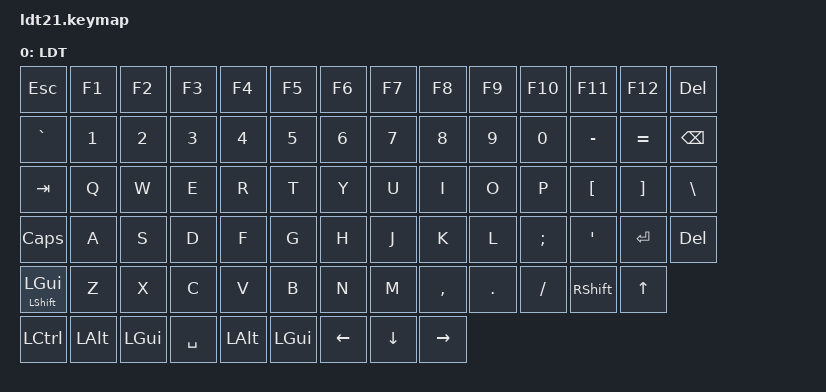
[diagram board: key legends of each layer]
/*
 * Copyright (c) 2020 The ZMK Contributors
 *
 * SPDX-License-Identifier: MIT
 */

#include <behaviors.dtsi>
#include <dt-bindings/zmk/keys.h>

#define DEF 0
#define NAV 1
#define NUM 2

/ {
    combos { compatible = "zmk,combos"; };

    behaviors {
        ctrlhold: ctrlhold {
            compatible = "zmk,behavior-hold-tap";
            label = "CTRLHOLD";
            bindings = <&kp>, <&kp>;

            #binding-cells = <2>;
            tapping-term-ms = <160>;
            hold-trigger-key-positions = <27 14 28 54 43 56 57 58 59 60 44 75 77 29 30 31 32 18>;
            flavor = "hold-preferred";
        };
    };

    keymap {
        compatible = "zmk,keymap";

        ldt21_layer {
            bindings = <
&kp ESCAPE               &kp F1        &kp F2        &kp F3        &kp F4        &kp F5        &kp F6          &kp F7    &kp F8     &kp F9      &kp F10        &kp F11           &kp F12            &kp DEL
&kp GRAVE                &kp NUMBER_1  &kp NUMBER_2  &kp NUMBER_3  &kp NUMBER_4  &kp N5        &kp NUMBER_6    &kp N7    &kp N8     &kp N9      &kp N0         &kp MINUS         &kp EQUAL          &kp BACKSPACE
&kp TAB                  &kp Q         &kp W         &kp E         &kp R         &kp T         &kp Y           &kp U     &kp I      &kp O       &kp P          &kp LEFT_BRACKET  &kp RIGHT_BRACKET  &kp BACKSLASH
&kp CAPSLOCK             &kp A         &kp S         &kp D         &kp F         &kp G         &kp H           &kp J     &kp K      &kp L       &kp SEMICOLON  &kp SQT           &kp ENTER          &kp DELETE
&mt LEFT_SHIFT LEFT_GUI  &kp Z         &kp X         &kp C         &kp V         &kp B         &kp N           &kp M     &kp COMMA  &kp PERIOD  &kp SLASH      &kp RIGHT_SHIFT   &kp UP
&kp LCTRL                &kp LEFT_ALT  &kp LEFT_GUI  &kp SPACE     &kp LEFT_ALT  &kp LEFT_GUI  &kp LEFT_ARROW  &kp DOWN  &kp RIGHT
            >;

            label = "LDT";
        };
    };
};
